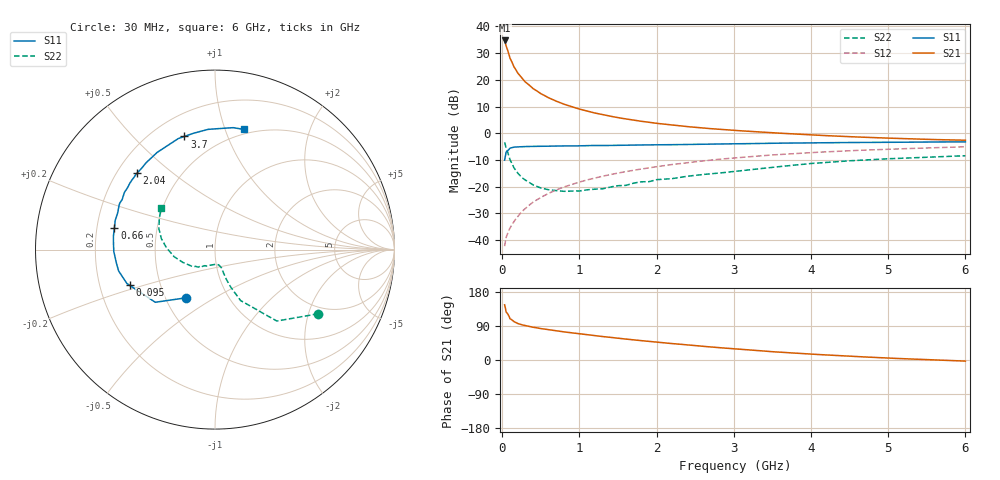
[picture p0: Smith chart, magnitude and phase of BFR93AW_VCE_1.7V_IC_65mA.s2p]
! Infineon Technologies  Discrete & RF Semiconductors
! BFR93AW
! VCE =  1.7 V,  IC =  65 mA
! Common Emitter S-Parameters:  Nov 2015
# GHz  S  MA  R  50
!  f  S11  S21  S12  S22
! GHz  MAG  ANG  MAG  ANG  MAG  ANG  MAG  ANG
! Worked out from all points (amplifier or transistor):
!   206 points, 30 MHz to 6 GHz, reference 50 ohm
!   highest |S21| = 34.7 dB at 30 MHz (marker M1)
!   |S21| within 3 dB of that: start of sweep to 61.62 MHz
!   unconditionally stable (mu >= 1): 186.4 MHz to 2.998 GHz
!   at 200 MHz: K = 1.02, MAG = 25.9 dB, |S12| = -31.2 dB
!   at 1.56 GHz: K = 1.09, MAG = 8.3 dB, |S12| = -14.6 dB
!   at 6 GHz: K = 0.99, MSG = 1.2 dB, |S12| = -5.1 dB
!   S11 on the Smith chart (normalised r, x): 30 MHz: 0.63, -0.38; 95 MHz: 0.33, -0.18; 660 MHz: 0.27, +0.10; 2.04 GHz: 0.28, +0.38; 3.7 GHz: 0.32, +0.71; 6 GHz: 0.46, +1.16
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0.03  0.3138 -121.1  54.45 145.6  0.0077 68.6  0.6772 -31.8
0.05  0.4437 -138.6  42.86 126.7  0.0113 64.2  0.5266 -49.1
0.095  0.5153 -157.3  26.96 111.7  0.0163 65.8  0.3377 -61.1
0.1  0.5261 -159.0  25.39 108.9  0.0169 65.9  0.3182 -63.3
0.15  0.5501 -167.5  17.58 101.2  0.0221 67.4  0.2261 -67.3
0.2  0.5547 -172.5  13.42 96.3  0.0276 70.9  0.1792 -69.0
0.24  0.5585 -175.7  11.33 93.9  0.0324 72.1  0.1551 -69.7
0.26  0.5605 -177.0  10.46 92.6  0.0347 72.7  0.1458 -69.9
0.3  0.564 -178.9  9.054 90.5  0.0392 73.6  0.1324 -70.0
0.4  0.5668 176.5  6.823 86.4  0.0514 75.1  0.1074 -70.5
0.5  0.5707 172.9  5.497 82.9  0.0627 75.7  0.0943 -73.8
0.66  0.573 168.0  4.224 78.2  0.0822 75.3  0.0856 -78.8
0.8  0.5792 163.9  3.489 74.2  0.0985 74.6  0.0818 -87.4
1.04  0.5824 157.8  2.732 68.2  0.1267 72.6  0.0847 -98.0
1.5  0.597 147.7  1.954 57.5  0.1798 68.4  0.1043 -118.2
2.02  0.6082 136.0  1.521 46.7  0.2388 62.7  0.1359 -134.4
2.04  0.6082 135.6  1.51 46.3  0.2411 62.4  0.1364 -134.9
3.1  0.6356 115.2  1.108 28.1  0.3533 50.1  0.1989 -160.7
3.7  0.6532 105.1  0.983 19.4  0.4086 42.8  0.2457 -175.5
4.1  0.6609 98.9  0.915 14.4  0.4413 38.0  0.2774 175.6
5.1  0.6776 86.0  0.801 4.2  0.5075 26.8  0.3368 157.9
6  0.6888 76.4  0.74 -2.9  0.5579 17.7  0.3792 142.4
